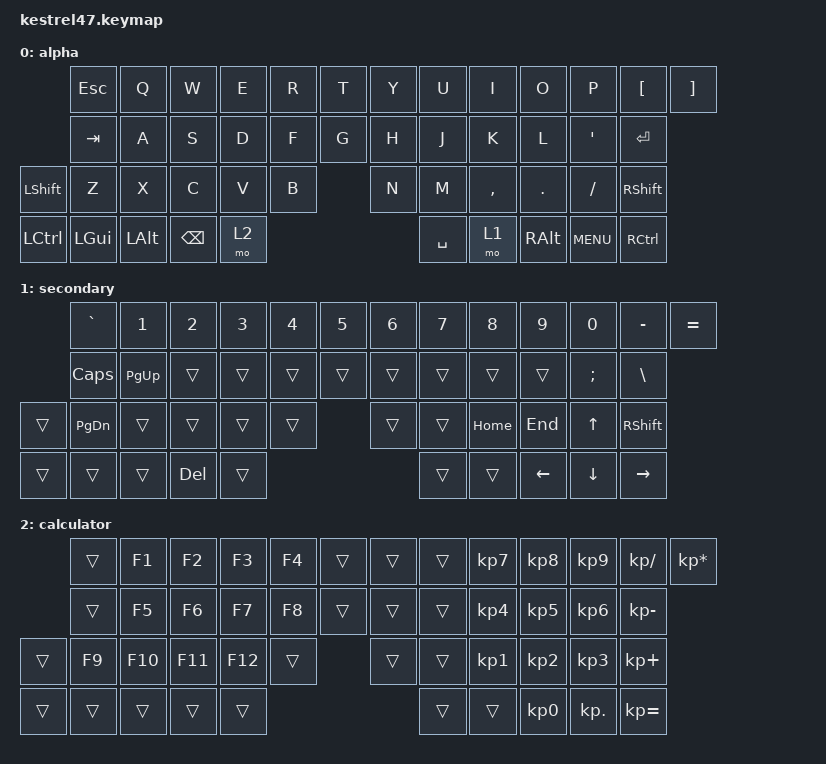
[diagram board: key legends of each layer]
/*
 * Copyright (c) 2020 The ZMK Contributors
 *
 * SPDX-License-Identifier: MIT
 */

#include <behaviors.dtsi>
#include <dt-bindings/zmk/bt.h>
#include <dt-bindings/zmk/keys.h>

#define DEFAULT 0
#define LOWER 1
#define RAISE 2

/ {
    combos {
        compatible = "zmk,combos";

        combo_boot {
            bindings = <&bootloader>;
            key-positions = <0 37 46 12>;
            layers = <0 1 2>;
        };

        combo_btclear {
            bindings = <&bt BT_CLR>;
            key-positions = <43 41 0>;
            layers = <0 1 2>;
        };

        combo_bt1 {
            bindings = <&bt BT_SEL 0>;
            key-positions = <43 41 1>;
        };

        combo_bt2 {
            bindings = <&bt BT_SEL 1>;
            key-positions = <43 41 2>;
            layers = <0 1 2>;
        };

        combo_bt3 {
            bindings = <&bt BT_SEL 2>;
            key-positions = <43 41 3>;
        };
    };

    keymap {
        compatible = "zmk,keymap";

        alpha {
            bindings = <
         &kp ESC     &kp Q     &kp W          &kp E  &kp R  &kp T      &kp Y  &kp U      &kp I          &kp O           &kp P  &kp LEFT_BRACKET  &kp RIGHT_BRACKET
         &kp TAB     &kp A     &kp S          &kp D  &kp F  &kp G      &kp H  &kp J      &kp K          &kp L  &kp APOSTROPHE         &kp ENTER
  &kp LEFT_SHIFT     &kp Z     &kp X          &kp C  &kp V  &kp B      &kp N  &kp M  &kp COMMA        &kp DOT        &kp FSLH        &kp RSHIFT
&kp LEFT_CONTROL  &kp LGUI  &kp LALT  &kp BACKSPACE         &mo 2  &kp SPACE             &mo 1  &kp RIGHT_ALT      &kp K_MENU         &kp RCTRL
            >;
        };

        secondary {
            bindings = <
   &kp GRAVE     &kp N1  &kp N2      &kp N3  &kp N4  &kp N5  &kp N6  &kp N7    &kp N8    &kp N9    &kp N0      &kp MINUS  &kp EQUAL
&kp CAPSLOCK  &kp PG_UP  &trans      &trans  &trans  &trans  &trans  &trans    &trans    &trans  &kp SEMI  &kp BACKSLASH
      &trans  &kp PG_DN  &trans      &trans  &trans  &trans  &trans  &trans  &kp HOME   &kp END    &kp UP      &kp RSHFT
      &trans     &trans  &trans  &kp DELETE          &trans  &trans            &trans  &kp LEFT  &kp DOWN      &kp RIGHT
            >;
        };

        calculator {
            bindings = <
&trans  &kp F1   &kp F2   &kp F3   &kp F4  &trans  &trans  &trans  &kp KP_N7  &kp KP_N8   &kp KP_N9  &kp KP_DIVIDE  &kp KP_MULTIPLY
&trans  &kp F5   &kp F6   &kp F7   &kp F8  &trans  &trans  &trans  &kp KP_N4  &kp KP_N5   &kp KP_N6   &kp KP_MINUS
&trans  &kp F9  &kp F10  &kp F11  &kp F12  &trans  &trans  &trans  &kp KP_N1  &kp KP_N2   &kp KP_N3    &kp KP_PLUS
&trans  &trans   &trans   &trans           &trans  &trans             &trans  &kp KP_N0  &kp KP_DOT   &kp KP_EQUAL
            >;
        };
    };
};
